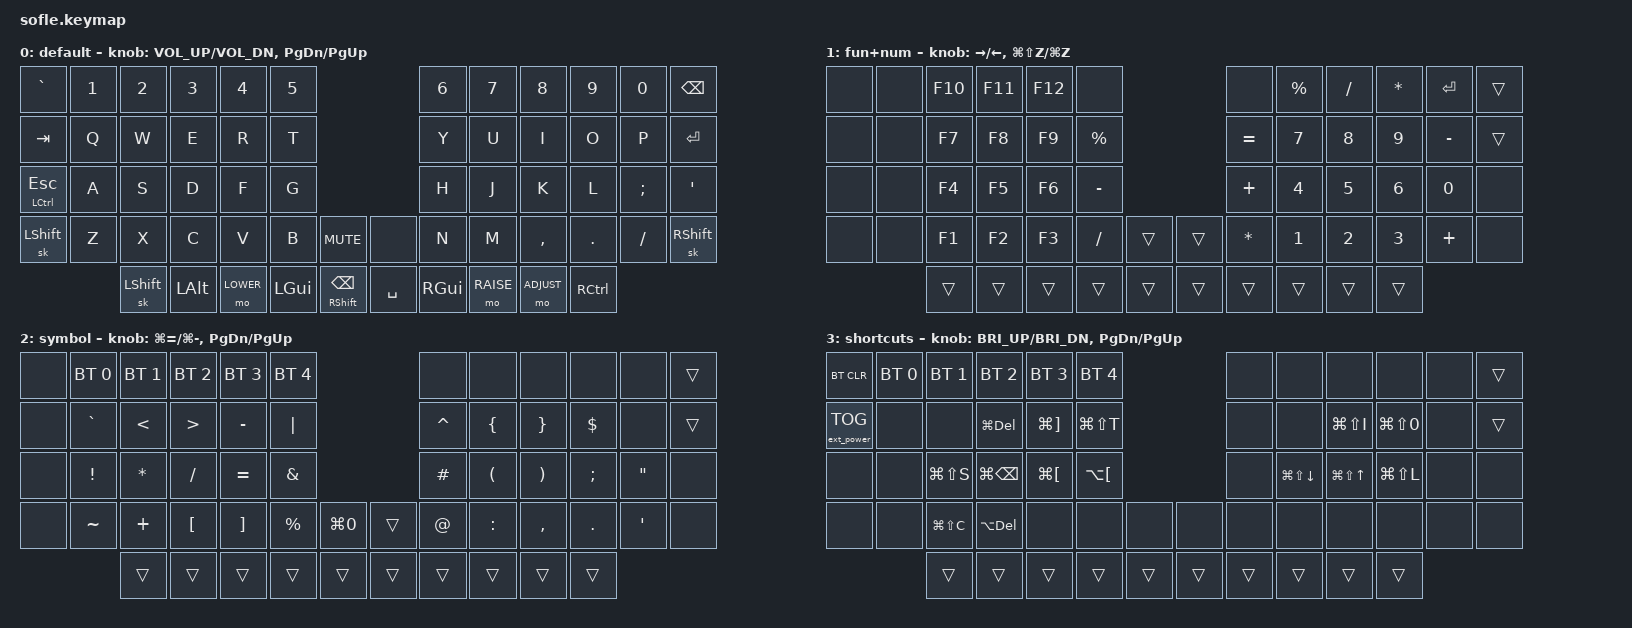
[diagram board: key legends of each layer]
/*
 * Copyright (c) 2020 The ZMK Contributors
 *
 * SPDX-License-Identifier: MIT
 */

#include <behaviors.dtsi>
#include <dt-bindings/zmk/keys.h>
#include <dt-bindings/zmk/bt.h>
#include <dt-bindings/zmk/rgb.h>
#include <dt-bindings/zmk/ext_power.h>

#define BASE 0
#define LOWER 1
#define RAISE 2
#define ADJUST 3
#define MO_TOG(layer) &mo_tog layer layer

/ {
    combos {
        compatible = "zmk,combos";
        combo_studio_unlock {
            timeout-ms = <50>;
            key-positions = <0 1>;
            bindings = <&studio_unlock>;
        };
    };
};

/ {

   // Activate ADJUST layer by pressing raise and lower
    // conditional_layers {
    //     compatible = "zmk,conditional-layers";
    //     adjust_layer {
    //         if-layers = <LOWER RAISE>;
    //         then-layer = <ADJUST>;
    //     };
    // };

    behaviors {
        mo_tog: behavior_mo_tog {
            compatible = "zmk,behavior-hold-tap";
            #binding-cells = <2>;
            flavor = "hold-preferred";
            tapping-term-ms = <200>;
            bindings = <&mo>, <&tog>;
        };
    };

    keymap {
        compatible = "zmk,keymap";

        default_layer {
            display-name = "default";
            bindings = <
&kp GRAVE     &kp N1 &kp N2    &kp N3   &kp N4    &kp N5                             &kp N6    &kp N7    &kp N8     &kp N9    &kp N0   &kp BSPC
&kp TAB       &kp Q  &kp W     &kp E    &kp R     &kp T                              &kp Y     &kp U     &kp I      &kp O     &kp P    &kp RETURN
&mt LCTRL ESC &kp A  &kp S     &kp D    &kp F     &kp G                              &kp H     &kp J     &kp K      &kp L     &kp SEMI &kp SQT
&sk LSHFT     &kp Z  &kp X     &kp C    &kp V     &kp B    &kp C_MUTE      &none     &kp N     &kp M     &kp COMMA  &kp DOT   &kp FSLH &sk RSHFT
                     &sk LSHFT &kp LALT &mo LOWER &kp LGUI &mt RSHIFT BSPC &kp SPACE &kp RGUI  &mo RAISE &mo ADJUST &kp RCTRL
            >;
            sensor-bindings = <&inc_dec_kp C_VOL_UP C_VOL_DN &inc_dec_kp PG_DN PG_UP>;
        };

        lower_layer {
            display-name = "fun+num";
            bindings = <
&none &none &kp F10 &kp F11 &kp F12 &none                   &none     &kp PRCNT  &kp FSLH  &kp STAR  &kp RETURN  &trans
&none &none &kp F7  &kp F8  &kp F9  &kp PRCNT               &kp EQUAL &kp N7 &kp N8 &kp N9 &kp MINUS  &trans 
&none &none &kp F4  &kp F5  &kp F6  &kp MINUS               &kp PLUS  &kp N4 &kp N5 &kp N6 &kp N0 &none
&none &none &kp F1  &kp F2  &kp F3  &kp FSLH  &trans &trans &kp STAR  &kp N1 &kp N2 &kp N3  &kp PLUS  &none
            &trans  &trans  &trans  &trans    &trans &trans &trans &trans &trans &trans
            >;

            sensor-bindings = <&inc_dec_kp RIGHT LEFT &inc_dec_kp LG(LS(Z)) LG(Z)>;
        };

        raise_layer {
            display-name = "symbol";
            bindings = <
&none &bt BT_SEL 0 &bt BT_SEL 1 &bt BT_SEL 2 &bt BT_SEL 3 &bt BT_SEL 4                   &none     &none     &none     &none    &none   &trans
&none &kp GRAVE    &kp LT       &kp GT       &kp MINUS    &kp PIPE                       &kp CARET &kp LBRC  &kp RBRC  &kp DLLR &none   &trans 
&none &kp EXCL     &kp STAR     &kp FSLH     &kp EQUAL    &kp AMPS                       &kp HASH  &kp LPAR  &kp RPAR  &kp SEMI &kp DQT &none
&none &kp TILDE    &kp PLUS     &kp LBKT     &kp RBKT     &kp PRCNT    &kp LG(N0) &trans &kp AT    &kp COLON &kp COMMA &kp DOT  &kp SQT &none
                   &trans       &trans       &trans       &trans       &trans     &trans &trans  &trans &trans &trans
            >;

            sensor-bindings = <&inc_dec_kp LG(EQUAL) LG(MINUS) &inc_dec_kp PG_DN PG_UP>;
        };

        adjust_layer {
            display-name = "shortcuts";
            bindings = <
&bt BT_CLR        &bt BT_SEL 0  &bt BT_SEL 1  &bt BT_SEL 2 &bt BT_SEL 3 &bt BT_SEL 4                &none  &none            &none          &none          &none &trans
&ext_power EP_TOG &none         &none         &kp LG(DEL)  &kp LG(RBKT) &kp LG(LS(T))               &none  &none            &kp LG(LS(I))  &kp LG(LS(N0)) &none &trans
&none             &none         &kp LG(LS(S)) &kp LG(BKSP) &kp LG(LBKT) &kp LA(LBKT)                &none  &kp LG(LS(DOWN)) &kp LG(LS(UP)) &kp LG(LS(L))   &none &none
&none             &none         &kp LG(LS(C)) &kp LA(DEL)  &none        &none         &none  &none  &none  &none  &none     &none          &none          &none 
                                &trans        &trans       &trans       &trans        &trans &trans &trans &trans &trans    &trans
            >;

            sensor-bindings = <&inc_dec_kp C_BRI_UP C_BRI_DN &inc_dec_kp PG_DN PG_UP>;
        };

    };
};
